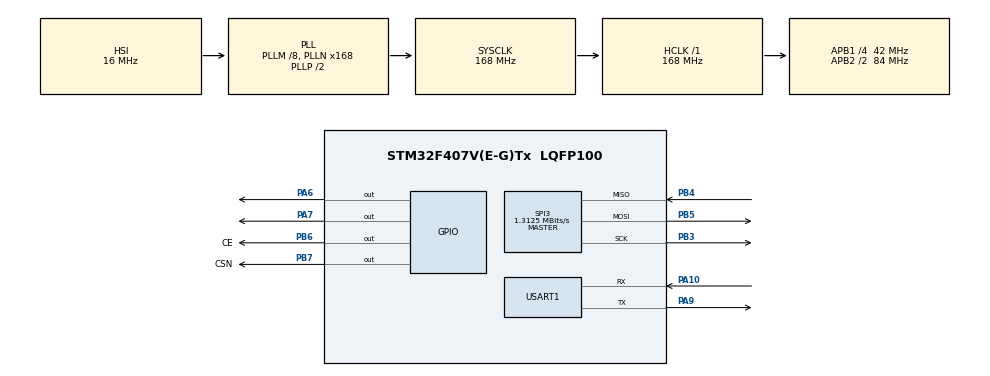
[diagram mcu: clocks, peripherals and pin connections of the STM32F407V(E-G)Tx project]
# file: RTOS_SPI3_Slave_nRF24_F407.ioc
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FREERTOS.Tasks01=nRF24L01,2,128,StartnRF24L01Task,Default,NULL,Dynamic,NULL,NULL
Mcu.Family=STM32F4
Mcu.Name=STM32F407V(E-G)Tx
Mcu.Package=LQFP100
NVIC.PriorityGroup=NVIC_PRIORITYGROUP_4
NVIC.TIM1_UP_TIM10_IRQn=true\:0\:0\:false\:false\:true\:false\:false\:true
NVIC.TimeBase=TIM1_UP_TIM10_IRQn
NVIC.TimeBaseIP=TIM1
NVIC.USART1_IRQn=true\:5\:0\:false\:false\:true\:true\:true\:true
PA10.Mode=Asynchronous
PA10.Signal=USART1_RX
PA13.Mode=Serial_Wire
PA13.Signal=SYS_JTMS-SWDIO
PA14.Mode=Serial_Wire
PA14.Signal=SYS_JTCK-SWCLK
PA6.GPIO_Speed=GPIO_SPEED_FREQ_VERY_HIGH
PA6.PinState=GPIO_PIN_SET
PA6.Signal=GPIO_Output
PA7.GPIO_Speed=GPIO_SPEED_FREQ_VERY_HIGH
PA7.PinState=GPIO_PIN_SET
PA7.Signal=GPIO_Output
PA9.Mode=Asynchronous
PA9.Signal=USART1_TX
PB3.Mode=Full_Duplex_Master
PB3.Signal=SPI3_SCK
PB4.Mode=Full_Duplex_Master
PB4.Signal=SPI3_MISO
PB5.Mode=Full_Duplex_Master
PB5.Signal=SPI3_MOSI
PB6.GPIO_Label=CE
PB6.GPIO_Speed=GPIO_SPEED_FREQ_VERY_HIGH
PB6.PinState=GPIO_PIN_SET
PB6.Signal=GPIO_Output
PB7.GPIO_Label=CSN
PB7.GPIO_Speed=GPIO_SPEED_FREQ_VERY_HIGH
PB7.PinState=GPIO_PIN_SET
PB7.Signal=GPIO_Output
PH0-OSC_IN.Mode=HSE-External-Oscillator
PH0-OSC_IN.Signal=RCC_OSC_IN
PH1-OSC_OUT.Mode=HSE-External-Oscillator
PH1-OSC_OUT.Signal=RCC_OSC_OUT
ProjectManager.HeapSize=0x200
ProjectManager.StackSize=0x400
ProjectManager.TargetToolchain=MDK-ARM V5.27
RCC.48MHZClocksFreq_Value=84000000
RCC.AHBFreq_Value=168000000
RCC.APB1CLKDivider=RCC_HCLK_DIV4
RCC.APB1Freq_Value=42000000
RCC.APB1TimFreq_Value=84000000
RCC.APB2CLKDivider=RCC_HCLK_DIV2
RCC.APB2Freq_Value=84000000
RCC.APB2TimFreq_Value=168000000
RCC.CortexFreq_Value=168000000
RCC.HCLKFreq_Value=168000000
RCC.HSE_VALUE=8000000
RCC.HSI_VALUE=16000000
RCC.LSE_VALUE=32768
RCC.PLLM=8
RCC.PLLN=168
RCC.SYSCLKFreq_VALUE=168000000
RCC.SYSCLKSource=RCC_SYSCLKSOURCE_PLLCLK
RCC.VCOOutputFreq_Value=336000000
SPI3.BaudRatePrescaler=SPI_BAUDRATEPRESCALER_32
SPI3.CalculateBaudRate=1.3125 MBits/s
SPI3.Direction=SPI_DIRECTION_2LINES
SPI3.Mode=SPI_MODE_MASTER
SPI3.VirtualType=VM_MASTER
USART1.VirtualMode=VM_ASYNC
VP_FREERTOS_VS_CMSIS_V1.Mode=CMSIS_V1
VP_SYS_VS_tim1.Mode=TIM1
board=custom

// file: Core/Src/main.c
/* USER CODE BEGIN Header */
/**
  ******************************************************************************
  * @file           : main.c
  * @brief          : Main program body
  ******************************************************************************
  * @attention
  *
  * <h2><center>&copy; Copyright (c) 2021 STMicroelectronics.
  * All rights reserved.</center></h2>
  *
  * This software component is licensed by ST under Ultimate Liberty license
  * SLA0044, the "License"; You may not use this file except in compliance with
  * the License. You may obtain a copy of the License at:
  *                             www.st.com/SLA0044
  *
  ******************************************************************************
  */
/* USER CODE END Header */
#include "main.h"
#include "cmsis_os.h"

/* USER CODE BEGIN Includes */
#include "nrf24.h"
/* USER CODE END Includes */

SPI_HandleTypeDef hspi3;

UART_HandleTypeDef huart1;

osThreadId nRF24L01Handle;
/* USER CODE BEGIN PV */
osThreadId HelloHandle;
/* USER CODE END PV */

void SystemClock_Config(void);
static void MX_GPIO_Init(void);
static void MX_SPI3_Init(void);
static void MX_USART1_UART_Init(void);
void StartnRF24L01Task(void const * argument);

/* USER CODE BEGIN PFP */
void StartHelloTask(void const * argument);
/* USER CODE END PFP */

/* USER CODE BEGIN 0 */
uint64_t RxpipeAddres = 0x11223344AA;
char MyRxData[32];
/* USER CODE END 0 */

int main(void)
{

  /* MCU Configuration--------------------------------------------------------*/

  /* Reset of all peripherals, Initializes the Flash interface and the Systick. */
  HAL_Init();

  /* Configure the system clock */
  SystemClock_Config();

  /* Initialize all configured peripherals */
  MX_GPIO_Init();
  MX_SPI3_Init();
  MX_USART1_UART_Init();

  /* Create the thread(s) */
  /* definition and creation of nRF24L01 */
  osThreadDef(nRF24L01, StartnRF24L01Task, osPriorityHigh, 0, 128);
  nRF24L01Handle = osThreadCreate(osThread(nRF24L01), NULL);

  /* USER CODE BEGIN RTOS_THREADS */
  /* add threads, ... */
	osThreadDef(HelloUART1, StartHelloTask, osPriorityNormal, 0, 128);
	HelloHandle = osThreadCreate(osThread(HelloUART1), NULL);
  /* USER CODE END RTOS_THREADS */

  /* Start scheduler */
  osKernelStart();

  /* We should never get here as control is now taken by the scheduler */
  /* Infinite loop */
  while (1)
  {

  }
}

void SystemClock_Config(void)
{
  RCC_OscInitTypeDef RCC_OscInitStruct = {0};
  RCC_ClkInitTypeDef RCC_ClkInitStruct = {0};

  /** Configure the main internal regulator output voltage
  */
  __HAL_RCC_PWR_CLK_ENABLE();
  __HAL_PWR_VOLTAGESCALING_CONFIG(PWR_REGULATOR_VOLTAGE_SCALE1);
  /** Initializes the RCC Oscillators according to the specified parameters
  * in the RCC_OscInitTypeDef structure.
  */
  RCC_OscInitStruct.OscillatorType = RCC_OSCILLATORTYPE_HSI;
  RCC_OscInitStruct.HSIState = RCC_HSI_ON;
  RCC_OscInitStruct.HSICalibrationValue = RCC_HSICALIBRATION_DEFAULT;
  RCC_OscInitStruct.PLL.PLLState = RCC_PLL_ON;
  RCC_OscInitStruct.PLL.PLLSource = RCC_PLLSOURCE_HSI;
  RCC_OscInitStruct.PLL.PLLM = 8;
  RCC_OscInitStruct.PLL.PLLN = 168;
  RCC_OscInitStruct.PLL.PLLP = RCC_PLLP_DIV2;
  RCC_OscInitStruct.PLL.PLLQ = 4;
  if (HAL_RCC_OscConfig(&RCC_OscInitStruct) != HAL_OK)
  {
    Error_Handler();
  }
  /** Initializes the CPU, AHB and APB buses clocks
  */
  RCC_ClkInitStruct.ClockType = RCC_CLOCKTYPE_HCLK|RCC_CLOCKTYPE_SYSCLK
                              |RCC_CLOCKTYPE_PCLK1|RCC_CLOCKTYPE_PCLK2;
  RCC_ClkInitStruct.SYSCLKSource = RCC_SYSCLKSOURCE_PLLCLK;
  RCC_ClkInitStruct.AHBCLKDivider = RCC_SYSCLK_DIV1;
  RCC_ClkInitStruct.APB1CLKDivider = RCC_HCLK_DIV4;
  RCC_ClkInitStruct.APB2CLKDivider = RCC_HCLK_DIV2;

  if (HAL_RCC_ClockConfig(&RCC_ClkInitStruct, FLASH_LATENCY_5) != HAL_OK)
  {
    Error_Handler();
  }
}

static void MX_SPI3_Init(void)
{

  /* SPI3 parameter configuration*/
  hspi3.Instance = SPI3;
  hspi3.Init.Mode = SPI_MODE_MASTER;
  hspi3.Init.Direction = SPI_DIRECTION_2LINES;
  hspi3.Init.DataSize = SPI_DATASIZE_8BIT;
  hspi3.Init.CLKPolarity = SPI_POLARITY_LOW;
  hspi3.Init.CLKPhase = SPI_PHASE_1EDGE;
  hspi3.Init.NSS = SPI_NSS_SOFT;
  hspi3.Init.BaudRatePrescaler = SPI_BAUDRATEPRESCALER_32;
  hspi3.Init.FirstBit = SPI_FIRSTBIT_MSB;
  hspi3.Init.TIMode = SPI_TIMODE_DISABLE;
  hspi3.Init.CRCCalculation = SPI_CRCCALCULATION_DISABLE;
  hspi3.Init.CRCPolynomial = 10;
  if (HAL_SPI_Init(&hspi3) != HAL_OK)
  {
    Error_Handler();
  }

}

static void MX_USART1_UART_Init(void)
{

  huart1.Instance = USART1;
  huart1.Init.BaudRate = 115200;
  huart1.Init.WordLength = UART_WORDLENGTH_8B;
  huart1.Init.StopBits = UART_STOPBITS_1;
  huart1.Init.Parity = UART_PARITY_NONE;
  huart1.Init.Mode = UART_MODE_TX_RX;
  huart1.Init.HwFlowCtl = UART_HWCONTROL_NONE;
  huart1.Init.OverSampling = UART_OVERSAMPLING_16;
  if (HAL_UART_Init(&huart1) != HAL_OK)
  {
    Error_Handler();
  }

}

static void MX_GPIO_Init(void)
{
  GPIO_InitTypeDef GPIO_InitStruct = {0};

  /* GPIO Ports Clock Enable */
  __HAL_RCC_GPIOH_CLK_ENABLE();
  __HAL_RCC_GPIOA_CLK_ENABLE();
  __HAL_RCC_GPIOB_CLK_ENABLE();

  /*Configure GPIO pin Output Level */
  HAL_GPIO_WritePin(GPIOA, GPIO_PIN_6|GPIO_PIN_7, GPIO_PIN_SET);

  /*Configure GPIO pin Output Level */
  HAL_GPIO_WritePin(GPIOB, CE_Pin|CSN_Pin, GPIO_PIN_SET);

  /*Configure GPIO pins : PA6 PA7 */
  GPIO_InitStruct.Pin = GPIO_PIN_6|GPIO_PIN_7;
  GPIO_InitStruct.Mode = GPIO_MODE_OUTPUT_PP;
  GPIO_InitStruct.Pull = GPIO_NOPULL;
  GPIO_InitStruct.Speed = GPIO_SPEED_FREQ_VERY_HIGH;
  HAL_GPIO_Init(GPIOA, &GPIO_InitStruct);

  /*Configure GPIO pins : CE_Pin CSN_Pin */
  GPIO_InitStruct.Pin = CE_Pin|CSN_Pin;
  GPIO_InitStruct.Mode = GPIO_MODE_OUTPUT_PP;
  GPIO_InitStruct.Pull = GPIO_NOPULL;
  GPIO_InitStruct.Speed = GPIO_SPEED_FREQ_VERY_HIGH;
  HAL_GPIO_Init(GPIOB, &GPIO_InitStruct);

}

/* USER CODE BEGIN 4 */
void StartHelloTask(void const * argument){
	while(1){
//		GPIOA->ODR ^= 0x03 << 6;
//		HAL_Delay(1000);
	}

}
/* USER CODE END 4 */

void StartnRF24L01Task(void const * argument)
{
  /* USER CODE BEGIN 5 */
NRF24_begin(GPIOB, CSN_Pin, CE_Pin, hspi3);
nrf24_DebugUART_Init(huart1);
printRadioSettings();

NRF24_setAutoAck(true);
NRF24_setChannel(52);
NRF24_setPayloadSize(32); // VL
NRF24_setDataRate(RF24_2MBPS);
NRF24_openReadingPipe(1, RxpipeAddres);

NRF24_startListening();
  /* Infinite loop */
  for(;;)
  {
		if(NRF24_available()){
			NRF24_read(MyRxData, 32);
			HAL_UART_Transmit(&huart1, (uint8_t*) MyRxData, strlen(MyRxData), 10);
			if(MyRxData[0] == '0')
			{
				HAL_GPIO_WritePin(GPIOA, GPIO_PIN_6, GPIO_PIN_SET);
				NRF24_write_payload((uint8_t*)"Led 6 on\r\n", 10);
			} else if(MyRxData[0] == '1') {
				HAL_GPIO_WritePin(GPIOA, GPIO_PIN_6, GPIO_PIN_RESET);
				NRF24_write_payload((uint8_t*)"Led 6 off\r\n", 11);
			}
			if(MyRxData[1] == '0')
			{
				HAL_GPIO_WritePin(GPIOA, GPIO_PIN_7, GPIO_PIN_SET);
				NRF24_write_payload((uint8_t*)"Led 7 on\r\n", 10);
			} else if(MyRxData[1] == '1') {
				HAL_GPIO_WritePin(GPIOA, GPIO_PIN_7, GPIO_PIN_RESET);
				NRF24_write_payload((uint8_t*)"Led 7 off\r\n", 11);
			}
		}
    osDelay(50);
  }
  /* USER CODE END 5 */
}

 /**
  * @brief  Period elapsed callback in non blocking mode
  * @note   This function is called  when TIM1 interrupt took place, inside
  * HAL_TIM_IRQHandler(). It makes a direct call to HAL_IncTick() to increment
  * a global variable "uwTick" used as application time base.
  * @param  htim : TIM handle
  * @retval None
  */
void HAL_TIM_PeriodElapsedCallback(TIM_HandleTypeDef *htim)
{
  if (htim->Instance == TIM1) {
    HAL_IncTick();
  }
}

void Error_Handler(void)
{
  __disable_irq();
  while (1)
  {
  }
}

/************************ (C) COPYRIGHT STMicroelectronics *****END OF FILE****/
